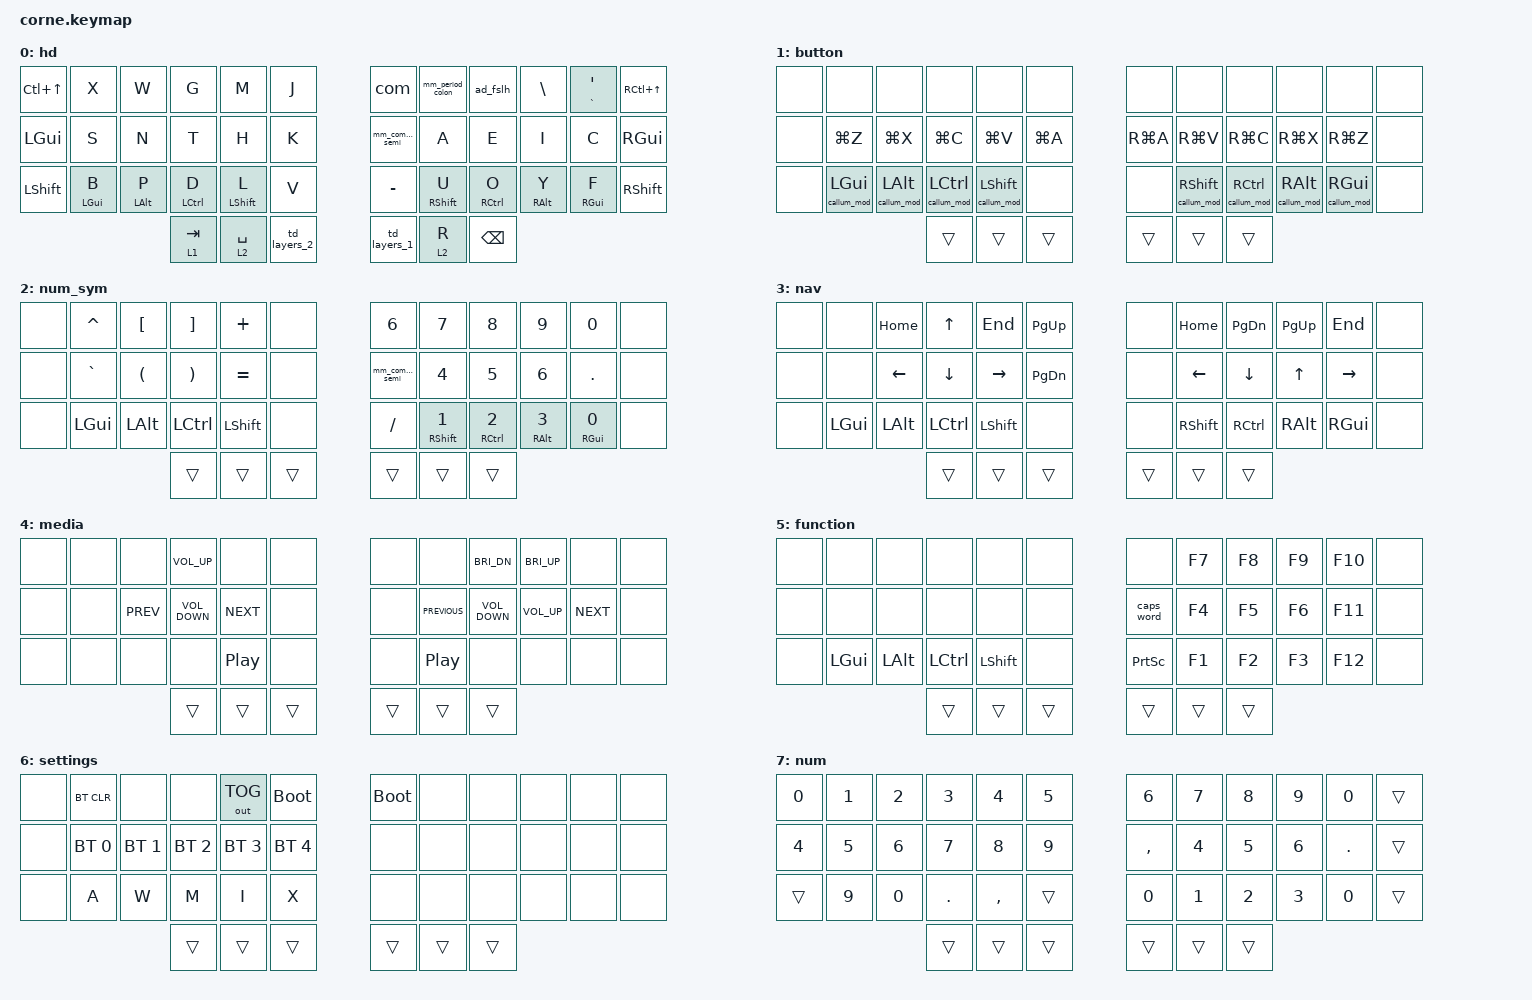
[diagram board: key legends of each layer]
#include <behaviors.dtsi>
#include <dt-bindings/zmk/bt.h>
#include <dt-bindings/zmk/keys.h>
#include <dt-bindings/zmk/outputs.h>

/ {
    behaviors {
        ad_fslh: adaptive_fslash {
            compatible = "zmk,behavior-antecedent-morph";
            label = "ADAPTIVE_FSLASH";
            #binding-cells = <0>;
            defaults = <&ht_at_excl 0 SLASH>;
            bindings = <&kp U>, <&kp A>;

            antecedents = <A U>;
            max-delay-ms = <1000>;
        };

        lhm: left_homerow_mods {
            compatible = "zmk,behavior-hold-tap";
            label = "LEFT_HOMEROW_MODS";
            #binding-cells = <2>;
            tapping-term-ms = <180>;
            flavor = "tap-preferred";
            bindings = <&kp>, <&kp>;

            hold-trigger-key-positions = <6 7 8 9 10 11 18 19 20 21 22 23 30 31 32 33 34 35 36 37 38 39 40 41 0 12 24>;
            hold-trigger-on-release;
            require-prior-idle-ms = <100>;
        };

        rhm: right_homerow_mods {
            compatible = "zmk,behavior-hold-tap";
            label = "RIGHT_HOMEROW_MODS";
            #binding-cells = <2>;
            tapping-term-ms = <180>;
            flavor = "tap-preferred";
            bindings = <&kp>, <&kp>;

            hold-trigger-key-positions = <0 1 2 3 4 5 12 13 14 15 16 17 24 25 26 27 28 29 36 37 38 39 40 41 11 23 35>;
            hold-trigger-on-release;
            require-prior-idle-ms = <100>;
        };

        lhm_s: lhm_s {
            compatible = "zmk,behavior-hold-tap";
            label = "LHM_S";
            #binding-cells = <2>;
            tapping-term-ms = <180>;
            quick-tap-ms = <200>;
            flavor = "balanced";
            bindings = <&kp>, <&kp>;

            hold-trigger-key-positions = <6 7 8 9 10 11 18 19 20 21 22 23 30 31 32 33 34 35 36 37 38 39 40 41 0 12 24>;
            hold-trigger-on-release;
        };

        rhm_s: rhm_s {
            compatible = "zmk,behavior-hold-tap";
            label = "RHM_S";
            #binding-cells = <2>;
            tapping-term-ms = <180>;
            quick-tap-ms = <200>;
            flavor = "balanced";
            bindings = <&kp>, <&kp>;

            hold-trigger-key-positions = <0 1 2 3 4 5 12 13 14 15 16 17 24 25 26 27 28 29 36 37 38 39 40 41 11 23 35>;
            hold-trigger-on-release;
        };

        callum_mod: callum_mod {
            compatible = "zmk,behavior-sticky-key";
            label = "CALLUM_MOD";
            bindings = <&kp>;
            #binding-cells = <1>;
            release-after-ms = <20000>;
            quick-release;
            ignore-modifiers;
        };

        td_layers_1: td_layers_1 {
            compatible = "zmk,behavior-tap-dance";
            label = "TD_LAYERS_1";
            #binding-cells = <0>;
            bindings = <&mo 3>, <&mo 4>, <&mo 6>;

            tapping-term-ms = <300>;
        };

        td_layers_2: td_layers_2 {
            compatible = "zmk,behavior-tap-dance";
            label = "TD_LAYERS_2";
            #binding-cells = <0>;
            bindings = <&mo 3>, <&mo 5>, <&mo 6>;

            tapping-term-ms = <300>;
        };

        linger: linger {
            compatible = "zmk,behavior-hold-tap";
            label = "LINGER";
            bindings = <&kp>, <&kp>;

            #binding-cells = <2>;
            tapping-term-ms = <200>;
            flavor = "tap-preferred";
        };

        ht_at_excl: ht_at_excl {
            compatible = "zmk,behavior-hold-tap";
            label = "HT_AT_EXCL";
            bindings = <&mm_at_excl>, <&kp>;

            #binding-cells = <2>;
            tapping-term-ms = <180>;
            flavor = "balanced";
        };

        mm_at_excl: mm_at_excl {
            compatible = "zmk,behavior-mod-morph";
            label = "MM_AT_EXCL";
            bindings = <&kp AT>, <&kp EXCL>;

            #binding-cells = <0>;
            mods = <(MOD_LSFT|MOD_RSFT)>;
            keep-mods = <(MOD_LSFT|MOD_RALT)>;
        };

        mm_comma_semi: mm_comma_semi {
            compatible = "zmk,behavior-mod-morph";
            label = "MM_COMMA_SEMI";
            bindings = <&kp COMMA>, <&kp SEMICOLON>;

            #binding-cells = <0>;
            mods = <(MOD_LSFT|MOD_RSFT)>;
        };

        mm_period_colon: mm_period_colon {
            compatible = "zmk,behavior-mod-morph";
            label = "MM_PERIOD_COLON";
            bindings = <&kp PERIOD>, <&kp COLON>;

            #binding-cells = <0>;
            mods = <(MOD_LSFT|MOD_RSFT)>;
        };
    };

    conditional_layers { compatible = "zmk,conditional-layers"; };

    combos {
        compatible = "zmk,combos";

        combo_q_l {
            bindings = <&kp Q>;
            key-positions = <2 3>;
            layers = <0>;
            timeout-ms = <100>;
        };

        combo_q_r {
            bindings = <&kp Q>;
            key-positions = <9 8>;
            timeout-ms = <100>;
            layers = <0>;
        };

        combo_z_l {
            bindings = <&kp Z>;
            key-positions = <13 2>;
            layers = <0>;
            timeout-ms = <100>;
        };

        combo_z_r {
            bindings = <&kp Z>;
            key-positions = <22 9>;
            timeout-ms = <100>;
            layers = <0>;
        };

        combo_esc_l {
            bindings = <&kp ESC>;
            key-positions = <4 16>;
            timeout-ms = <100>;
            layers = <0>;
        };

        combo_esc_r {
            bindings = <&kp ESC>;
            key-positions = <19 7>;
            timeout-ms = <100>;
            layers = <0>;
        };

        combo_return_l {
            bindings = <&kp RETURN>;
            key-positions = <15 14 16>;
            timeout-ms = <150>;
        };

        combo_return_r {
            bindings = <&kp RETURN>;
            key-positions = <20 19 21>;
            timeout-ms = <150>;
        };

        combo_delete_l {
            bindings = <&kp DELETE>;
            key-positions = <17 4>;
            timeout-ms = <150>;
        };

        combo_delete_r {
            bindings = <&kp DELETE>;
            key-positions = <18 7>;
            timeout-ms = <150>;
        };

        combo_backspace_l {
            bindings = <&kp BACKSPACE>;
            key-positions = <4 5>;
            timeout-ms = <150>;
        };

        combo_backspace_r {
            bindings = <&kp BACKSPACE>;
            key-positions = <6 7>;
            timeout-ms = <150>;
        };

        combo_excl_l {
            bindings = <&kp EXCL>;
            key-positions = <4 15>;
            layers = <0 2>;
        };

        combo_excl_r {
            bindings = <&kp EXCL>;
            key-positions = <20 7>;
            layers = <0 2>;
        };

        combo_percent_l {
            bindings = <&kp PERCENT>;
            key-positions = <14 3>;
            layers = <2>;
        };

        combo_hash_l {
            bindings = <&kp HASH>;
            key-positions = <1 4>;
            layers = <2>;
        };

        combo_dollar_l {
            bindings = <&kp DOLLAR>;
            key-positions = <1 16>;
            layers = <2>;
        };

        combo_amp_l {
            bindings = <&kp AMPERSAND>;
            key-positions = <4 13>;
            layers = <2>;
        };

        combo_lbrace_l {
            bindings = <&kp LEFT_BRACE>;
            key-positions = <2 3>;
            layers = <2>;
        };

        combo_rbrace_l {
            bindings = <&kp RIGHT_BRACE>;
            key-positions = <3 4>;
            layers = <2>;
        };

        combo_lt_l {
            bindings = <&kp LESS_THAN>;
            key-positions = <14 15>;
            layers = <2>;
        };

        combo_gt_l {
            bindings = <&kp GREATER_THAN>;
            key-positions = <15 16>;
            layers = <2>;
        };

        combo_tilde_l {
            bindings = <&kp TILDE>;
            key-positions = <3 16>;
            layers = <2>;
        };

        combo_asterisk_l {
            bindings = <&kp ASTERISK>;
            key-positions = <2 16>;
            layers = <2>;
        };
    };

    macros {
        com: com {
            compatible = "zmk,behavior-macro";
            #binding-cells = <0>;
            bindings = <&kp C &kp O &kp M>;
            label = "COM";
        };
    };

    keymap {
        compatible = "zmk,keymap";

        hd {
            bindings = <
&kp LC(UP)      &kp X            &kp W            &kp G                &kp M                &kp J           &com            &mm_period_colon      &ad_fslh              &kp BACKSLASH     &linger GRAVE SQT  &kp RC(UP)
&kp LGUI        &kp S            &kp N            &kp T                &kp H                &kp K           &mm_comma_semi  &kp A                 &kp E                 &kp I             &kp C              &kp RGUI
&kp LEFT_SHIFT  &lhm LEFT_GUI B  &lhm LEFT_ALT P  &lhm LEFT_CONTROL D  &lhm_s LEFT_SHIFT L  &kp V           &kp MINUS       &rhm_s RIGHT_SHIFT U  &rhm RIGHT_CONTROL O  &rhm RIGHT_ALT Y  &rhm RIGHT_GUI F   &kp RIGHT_SHIFT
                                                  &lt 1 TAB            &lt 2 SPACE          &td_layers_2    &td_layers_1    &lt 2 R               &kp BACKSPACE
            >;
        };

        button {
            bindings = <
&none  &none                 &none                 &none                     &none                   &none        &none      &none                    &none                      &none                  &none                  &none
&none  &kp LG(Z)             &kp LG(X)             &kp LG(C)                 &kp LG(V)               &kp LG(A)    &kp RG(A)  &kp RG(V)                &kp RG(C)                  &kp RG(X)              &kp RG(Z)              &none
&none  &callum_mod LEFT_GUI  &callum_mod LEFT_ALT  &callum_mod LEFT_CONTROL  &callum_mod LEFT_SHIFT  &none        &none      &callum_mod RIGHT_SHIFT  &callum_mod RIGHT_CONTROL  &callum_mod RIGHT_ALT  &callum_mod RIGHT_GUI  &none
                                                   &trans                    &trans                  &trans       &trans     &trans                   &trans
            >;
        };

        num_sym {
            bindings = <
&none  &kp CARET     &kp LEFT_BRACKET      &kp RIGHT_BRACKET      &kp PLUS        &none     &kp N6          &kp N7               &kp N8                 &kp N9             &kp N0             &none
&none  &kp GRAVE     &kp LEFT_PARENTHESIS  &kp RIGHT_PARENTHESIS  &kp EQUAL       &none     &mm_comma_semi  &kp N4               &kp N5                 &kp N6             &kp PERIOD         &none
&none  &kp LEFT_GUI  &kp LEFT_ALT          &kp LEFT_CONTROL       &kp LEFT_SHIFT  &none     &kp SLASH       &rhm RIGHT_SHIFT N1  &rhm RIGHT_CONTROL N2  &rhm RIGHT_ALT N3  &rhm RIGHT_GUI N0  &none
                                           &trans                 &trans          &trans    &trans          &trans               &trans
            >;
        };

        nav {
            bindings = <
&none  &none         &kp HOME      &kp UP            &kp END         &kp PG_UP    &none   &kp HOME         &kp PG_DN          &kp PG_UP      &kp END        &none
&none  &none         &kp LEFT      &kp DOWN          &kp RIGHT       &kp PG_DN    &none   &kp LEFT         &kp DOWN           &kp UP         &kp RIGHT      &none
&none  &kp LEFT_GUI  &kp LEFT_ALT  &kp LEFT_CONTROL  &kp LEFT_SHIFT  &none        &none   &kp RIGHT_SHIFT  &kp RIGHT_CONTROL  &kp RIGHT_ALT  &kp RIGHT_GUI  &none
                                   &trans            &trans          &trans       &trans  &trans           &trans
            >;
        };

        media {
            bindings = <
&none  &none  &none       &kp C_VOLUME_UP    &none             &none     &none   &none             &kp C_BRI_DN       &kp C_BRI_UP     &none       &none
&none  &none  &kp C_PREV  &kp C_VOLUME_DOWN  &kp C_NEXT        &none     &none   &kp C_PREVIOUS    &kp C_VOLUME_DOWN  &kp C_VOLUME_UP  &kp C_NEXT  &none
&none  &none  &none       &none              &kp C_PLAY_PAUSE  &none     &none   &kp C_PLAY_PAUSE  &none              &none            &none       &none
                          &trans             &trans            &trans    &trans  &trans            &trans
            >;
        };

        function {
            bindings = <
&none  &none         &none         &none             &none           &none     &none            &kp F7  &kp F8  &kp F9  &kp F10  &none
&none  &none         &none         &none             &none           &none     &caps_word       &kp F4  &kp F5  &kp F6  &kp F11  &none
&none  &kp LEFT_GUI  &kp LEFT_ALT  &kp LEFT_CONTROL  &kp LEFT_SHIFT  &none     &kp PRINTSCREEN  &kp F1  &kp F2  &kp F3  &kp F12  &none
                                   &trans            &trans          &trans    &trans           &trans  &trans
            >;
        };

        settings {
            bindings = <
&none  &bt BT_CLR    &none         &none         &out OUT_TOG  &bootloader     &bootloader  &none   &none   &none  &none  &none
&none  &bt BT_SEL 0  &bt BT_SEL 1  &bt BT_SEL 2  &bt BT_SEL 3  &bt BT_SEL 4    &none        &none   &none   &none  &none  &none
&none  &kp A         &kp W         &kp M         &kp I         &kp X           &none        &none   &none   &none  &none  &none
                                   &trans        &trans        &trans          &trans       &trans  &trans
            >;
        };

        num {
            bindings = <
&kp N0  &kp N1  &kp N2  &kp N3   &kp N4     &kp N5    &kp N6     &kp N7  &kp N8  &kp N9  &kp N0   &trans
&kp N4  &kp N5  &kp N6  &kp N7   &kp N8     &kp N9    &kp COMMA  &kp N4  &kp N5  &kp N6  &kp DOT  &trans
&trans  &kp N9  &kp N0  &kp DOT  &kp COMMA  &trans    &kp N0     &kp N1  &kp N2  &kp N3  &kp N0   &trans
                        &trans   &trans     &trans    &trans     &trans  &trans
            >;
        };
    };
};

